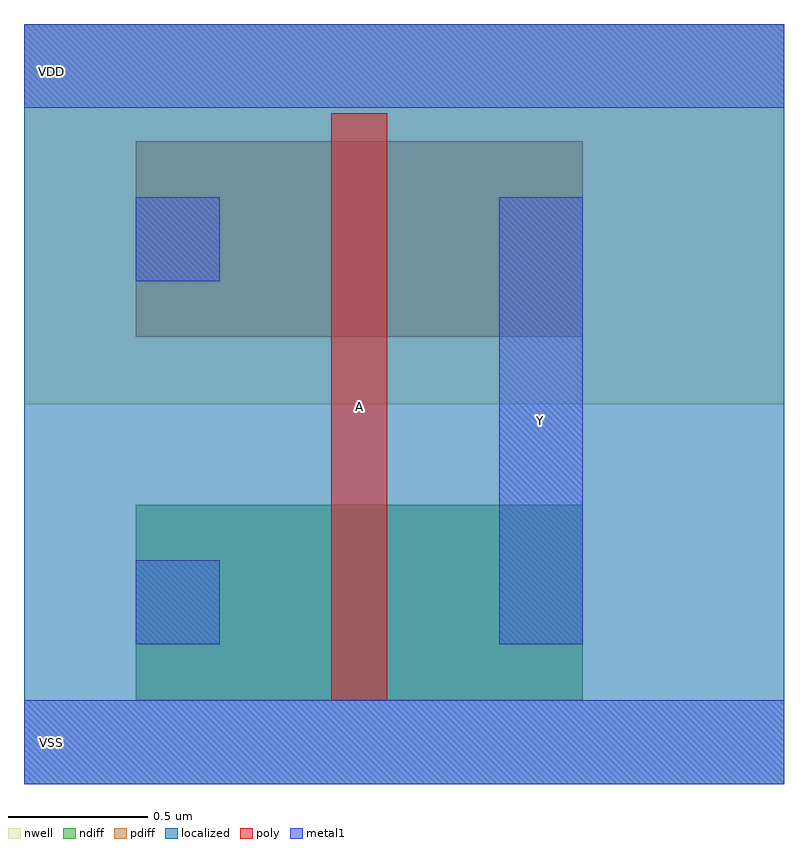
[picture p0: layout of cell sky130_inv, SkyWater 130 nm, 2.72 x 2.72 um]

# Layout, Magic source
magic
tech sky130A
<< nwell >>
rect 0 136 272 272
<< localized >>
rect 0 0 272 272
<< poly >>
rect 110 30 130 240
<< ndiff >>
rect 40 30 200 100
<< pdiff >>
rect 40 160 200 230
<< metal1 >>
rect 0 0 272 30
rect 0 242 272 272
rect 40 50 70 80
rect 170 50 200 80
rect 40 180 70 210
rect 170 180 200 210
rect 170 80 200 180
<< labels >>
rlabel metal1 10 15 10 15 0 VSS
rlabel metal1 10 255 10 255 0 VDD
rlabel poly 120 135 120 135 0 A
rlabel metal1 185 130 185 130 0 Y
<< end >>
